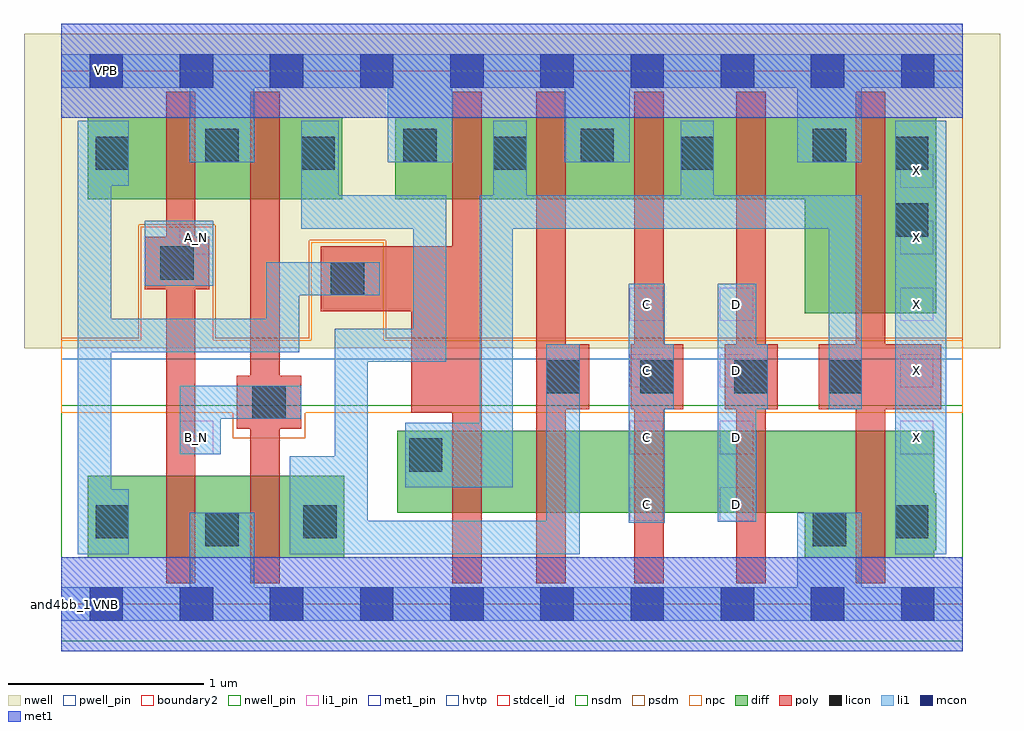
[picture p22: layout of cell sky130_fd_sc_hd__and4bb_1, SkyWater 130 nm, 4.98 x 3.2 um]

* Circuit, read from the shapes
.subckt sky130_fd_sc_hd__and4bb_1 A_N B_N C D VGND VNB VPB VPWR X
XM1 VGND A_N n1 VNB sky130_fd_pr__nfet_01v8 w=0.42 l=0.15
XM2 n2 B_N VGND VNB sky130_fd_pr__nfet_01v8 w=0.42 l=0.15
XM3 n3 n1 n4 VNB sky130_fd_pr__nfet_01v8 w=0.42 l=0.15
XM4 n5 n2 n3 VNB sky130_fd_pr__nfet_01v8 w=0.42 l=0.15
XM5 n6 C n5 VNB sky130_fd_pr__nfet_01v8 w=0.42 l=0.15
XM6 VGND D n6 VNB sky130_fd_pr__nfet_01v8 w=0.42 l=0.15
XM7 X n4 VGND VNB sky130_fd_pr__nfet_01v8 w=0.65 l=0.15
XM8 VPWR A_N n1 VPB sky130_fd_pr__pfet_01v8_hvt w=0.42 l=0.15
XM9 n2 B_N VPWR VPB sky130_fd_pr__pfet_01v8_hvt w=0.42 l=0.15
XM10 n4 n1 VPWR VPB sky130_fd_pr__pfet_01v8_hvt w=0.42 l=0.15
XM11 VPWR n2 n4 VPB sky130_fd_pr__pfet_01v8_hvt w=0.42 l=0.15
XM12 n4 C VPWR VPB sky130_fd_pr__pfet_01v8_hvt w=0.42 l=0.15
XM13 VPWR D n4 VPB sky130_fd_pr__pfet_01v8_hvt w=0.42 l=0.15
XM14 X n4 VPWR VPB sky130_fd_pr__pfet_01v8_hvt w=1 l=0.15
.ends

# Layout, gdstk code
import gdstk
lib = gdstk.Library(unit=1e-6, precision=1e-09)
def R(c, l, rs):  # rectangles x0, y0, x1, y1
    for r in rs: c.add(gdstk.rectangle(r[:2], r[2:], *l))
def A(c, l, x, y, w, h, nx, ny, dx, dy):  # array of equal rectangles
    R(c, l, [(x+i*dx, y+j*dy, x+i*dx+w, y+j*dy+h) for i in range(nx) for j in range(ny)])
def P(c, l, *ps):  # polygons
    for p in ps: c.add(gdstk.Polygon(p, *l))
nwell_pin = (64, 16)
nwell = (64, 20)
diff = (65, 20)
poly = (66, 20)
licon = (66, 44)
li1_pin = (67, 16)
li1 = (67, 20)
mcon = (67, 44)
met1_pin = (68, 16)
met1 = (68, 20)
hvtp = (78, 44)
stdcell_id = (81, 4)
nsdm = (93, 44)
psdm = (94, 20)
npc = (95, 20)
pwell_pin = (122, 16)
boundary2 = (236, 0)

sky130_fd_sc_hd__and4bb_ = lib.new_cell('sky130_fd_sc_hd__and4bb_1')
R(sky130_fd_sc_hd__and4bb_, nwell_pin, [(0.145,2.635,0.315,2.805)])
R(sky130_fd_sc_hd__and4bb_, nwell, [(-0.19,1.305,4.79,2.91)])
R(sky130_fd_sc_hd__and4bb_, diff, [(0.135,0.235,1.445,0.655), (0.135,2.065,1.435,2.485)])
P(sky130_fd_sc_hd__and4bb_, diff, [(4.465,2.485),(1.705,2.485),(1.705,2.065),(3.795,2.065),(3.795,1.485),(4.465,1.485)],
  [(4.465,0.565),(4.455,0.565),(4.455,0.885),(1.715,0.885),(1.715,0.465),(3.795,0.465),(3.795,0.235),(4.455,0.235),(4.455,0.275),(4.465,0.275)])
P(sky130_fd_sc_hd__and4bb_, poly, [(0.755,1.875),(0.685,1.875),(0.685,2.615),(0.535,2.615),(0.535,1.875),(0.425,1.875),(0.425,1.605),(0.535,1.605),(0.535,0.105),(0.685,0.105),(0.685,1.605),(0.755,1.605)],
  [(1.225,1.165),(1.115,1.165),(1.115,2.615),(0.965,2.615),(0.965,1.165),(0.895,1.165),(0.895,0.895),(0.965,0.895),(0.965,0.105),(1.115,0.105),(1.115,0.895),(1.225,0.895)],
  [(2.145,2.615),(1.995,2.615),(1.995,1.825),(1.325,1.825),(1.325,1.495),(1.785,1.495),(1.785,0.975),(1.995,0.975),(1.995,0.105),(2.145,0.105)],
  [(2.695,1.325),(2.575,1.325),(2.575,2.615),(2.425,2.615),(2.425,0.105),(2.575,0.105),(2.575,0.995),(2.695,0.995)],
  [(3.175,1.325),(3.075,1.325),(3.075,2.615),(2.925,2.615),(2.925,1.325),(2.905,1.325),(2.905,0.995),(2.925,0.995),(2.925,0.105),(3.075,0.105),(3.075,0.995),(3.175,0.995)],
  [(3.655,1.325),(3.595,1.325),(3.595,2.615),(3.445,2.615),(3.445,1.325),(3.385,1.325),(3.385,0.995),(3.445,0.995),(3.445,0.105),(3.595,0.105),(3.595,0.995),(3.655,0.995)],
  [(4.49,1.325),(4.205,1.325),(4.205,2.615),(4.055,2.615),(4.055,1.325),(3.865,1.325),(3.865,0.995),(4.055,0.995),(4.055,0.105),(4.205,0.105),(4.205,0.995),(4.49,0.995)])
A(sky130_fd_sc_hd__and4bb_, licon, 2.475, 1.075, 0.17, 0.17, 4, 1, 0.48, 0)
R(sky130_fd_sc_hd__and4bb_, licon, [(0.735,0.295,0.905,0.465), (3.835,0.295,4.005,0.465), (0.175,0.335,0.345,0.505), (1.235,0.335,1.405,0.505), (4.255,0.335,4.425,0.505), (1.775,0.675,1.945,0.845), (0.975,0.945,1.145,1.115), (1.375,1.575,1.545,1.745), (0.505,1.655,0.675,1.825), (4.255,1.875,4.425,2.045), (0.175,2.215,0.345,2.385), (1.225,2.215,1.395,2.385), (2.205,2.215,2.375,2.385), (3.16,2.215,3.33,2.385), (4.255,2.215,4.425,2.385), (0.735,2.255,0.905,2.425), (1.745,2.255,1.915,2.425), (2.65,2.255,2.82,2.425), (3.835,2.255,4.005,2.425)])
A(sky130_fd_sc_hd__and4bb_, li1_pin, 2.9, 0.425, 0.17, 0.17, 1, 4, 0, 0.34)
A(sky130_fd_sc_hd__and4bb_, li1_pin, 3.36, 0.425, 0.17, 0.17, 1, 4, 0, 0.34)
A(sky130_fd_sc_hd__and4bb_, li1_pin, 4.28, 0.765, 0.17, 0.17, 1, 5, 0, 0.34)
R(sky130_fd_sc_hd__and4bb_, li1_pin, [(0.605,0.765,0.775,0.935), (0.605,1.785,0.775,1.955)])
R(sky130_fd_sc_hd__and4bb_, li1, [(4.255,0.255,4.515,2.465), (0.425,1.625,0.775,1.955)])
P(sky130_fd_sc_hd__and4bb_, li1, [(4.6,0.085),(4.085,0.085),(4.085,0.465),(3.755,0.465),(3.755,0.085),(0.985,0.085),(0.985,0.465),(0.655,0.465),(0.655,0.085),(0,0.085),(0,-0.085),(4.6,-0.085)],
  [(4.6,2.805),(0,2.805),(0,2.635),(0.655,2.635),(0.655,2.255),(0.985,2.255),(0.985,2.635),(1.665,2.635),(1.665,2.255),(1.995,2.255),(1.995,2.635),(2.57,2.635),(2.57,2.255),(2.9,2.255),(2.9,2.635),(3.755,2.635),(3.755,2.255),(4.085,2.255),(4.085,2.635),(4.6,2.635)],
  [(1.225,1.115),(0.605,1.115),(0.605,0.765),(0.815,0.765),(0.815,0.945),(1.225,0.945)],
  [(1.625,1.745),(1.045,1.745),(1.045,1.455),(0.255,1.455),(0.255,2.135),(0.345,2.135),(0.345,2.465),(0.085,2.465),(0.085,0.255),(0.345,0.255),(0.345,0.585),(0.255,0.585),(0.255,1.285),(1.215,1.285),(1.215,1.575),(1.625,1.575)],
  [(2.645,1.325),(2.475,1.325),(2.475,0.425),(1.565,0.425),(1.565,1.235),(1.965,1.235),(1.965,2.085),(1.415,2.085),(1.415,2.465),(1.225,2.465),(1.225,1.915),(1.795,1.915),(1.795,1.405),(1.395,1.405),(1.395,0.755),(1.165,0.755),(1.165,0.255),(2.645,0.255)],
  [(3.125,1.325),(3.08,1.325),(3.08,1.635),(2.895,1.635),(2.895,0.415),(3.08,0.415),(3.08,0.995),(3.125,0.995)],
  [(3.605,1.325),(3.545,1.325),(3.545,1.635),(3.35,1.635),(3.35,0.42),(3.545,0.42),(3.545,0.995),(3.605,0.995)],
  [(4.085,2.085),(3.33,2.085),(3.33,2.465),(3.16,2.465),(3.16,2.085),(2.375,2.085),(2.375,2.465),(2.205,2.465),(2.205,2.085),(2.135,2.085),(2.135,0.925),(1.755,0.925),(1.755,0.595),(2.305,0.595),(2.305,1.915),(3.915,1.915),(3.915,0.995),(4.085,0.995)])
A(sky130_fd_sc_hd__and4bb_, mcon, 0.145, -0.085, 0.17, 0.17, 10, 2, 0.46, 2.72)
R(sky130_fd_sc_hd__and4bb_, met1_pin, [(0.145,-0.085,0.315,0.085), (0.145,2.635,0.315,2.805)])
R(sky130_fd_sc_hd__and4bb_, hvtp, [(0,1.25,4.6,2.72)])
R(sky130_fd_sc_hd__and4bb_, stdcell_id, [(0,0,4.6,2.72)])
R(sky130_fd_sc_hd__and4bb_, nsdm, [(0,-0.19,4.6,1.015)])
P(sky130_fd_sc_hd__and4bb_, psdm, [(4.6,2.91),(0,2.91),(0,1.355),(0.395,1.355),(0.395,1.935),(0.785,1.935),(0.785,1.355),(1.265,1.355),(1.265,1.855),(1.655,1.855),(1.655,1.355),(4.6,1.355)])
P(sky130_fd_sc_hd__and4bb_, npc, [(4.6,1.345),(1.645,1.345),(1.645,1.845),(1.275,1.845),(1.275,1.345),(0.775,1.345),(0.775,1.925),(0.405,1.925),(0.405,1.345),(0,1.345),(0,0.975),(0.875,0.975),(0.875,0.845),(1.245,0.845),(1.245,0.975),(4.6,0.975)])
R(sky130_fd_sc_hd__and4bb_, pwell_pin, [(0.145,-0.085,0.315,0.085)])
R(sky130_fd_sc_hd__and4bb_, boundary2, [(0,0,4.6,2.72)])
sky130_fd_sc_hd__and4bb_.add(gdstk.FlexPath([(0,2.72),(4.6,2.72)], 0.48, ends="flush", simple_path=True, layer=68, datatype=20))  # met1
sky130_fd_sc_hd__and4bb_.add(gdstk.FlexPath([(0,0),(4.6,0)], 0.48, ends="flush", simple_path=True, layer=68, datatype=20))  # met1
sky130_fd_sc_hd__and4bb_.add(gdstk.Label('VNB', (0.23,0), layer=64, texttype=59))
sky130_fd_sc_hd__and4bb_.add(gdstk.Label('VPB', (0.23,2.72), layer=64, texttype=5))
sky130_fd_sc_hd__and4bb_.add(gdstk.Label('VGND', (0.23,0), layer=68, texttype=5))
sky130_fd_sc_hd__and4bb_.add(gdstk.Label('VPWR', (0.23,2.72), layer=68, texttype=5))
sky130_fd_sc_hd__and4bb_.add(gdstk.Label('A_N', (0.69,1.87), layer=67, texttype=5))
sky130_fd_sc_hd__and4bb_.add(gdstk.Label('D', (3.445,0.51), layer=67, texttype=5))
sky130_fd_sc_hd__and4bb_.add(gdstk.Label('D', (3.445,0.85), layer=67, texttype=5))
sky130_fd_sc_hd__and4bb_.add(gdstk.Label('D', (3.445,1.19), layer=67, texttype=5))
sky130_fd_sc_hd__and4bb_.add(gdstk.Label('X', (4.365,0.85), layer=67, texttype=5))
sky130_fd_sc_hd__and4bb_.add(gdstk.Label('X', (4.365,1.19), layer=67, texttype=5))
sky130_fd_sc_hd__and4bb_.add(gdstk.Label('X', (4.365,1.53), layer=67, texttype=5))
sky130_fd_sc_hd__and4bb_.add(gdstk.Label('X', (4.365,1.87), layer=67, texttype=5))
sky130_fd_sc_hd__and4bb_.add(gdstk.Label('X', (4.365,2.21), layer=67, texttype=5))
sky130_fd_sc_hd__and4bb_.add(gdstk.Label('C', (2.985,0.85), layer=67, texttype=5))
sky130_fd_sc_hd__and4bb_.add(gdstk.Label('C', (2.985,1.19), layer=67, texttype=5))
sky130_fd_sc_hd__and4bb_.add(gdstk.Label('C', (2.985,0.51), layer=67, texttype=5))
sky130_fd_sc_hd__and4bb_.add(gdstk.Label('B_N', (0.69,0.85), layer=67, texttype=5))
sky130_fd_sc_hd__and4bb_.add(gdstk.Label('C', (2.985,1.53), layer=67, texttype=5))
sky130_fd_sc_hd__and4bb_.add(gdstk.Label('D', (3.445,1.53), layer=67, texttype=5))
sky130_fd_sc_hd__and4bb_.add(gdstk.Label('and4bb_1', (0,0), layer=83, texttype=44))

lib.write_gds('sky130_fd_sc_hd__and4bb_1.gds')
